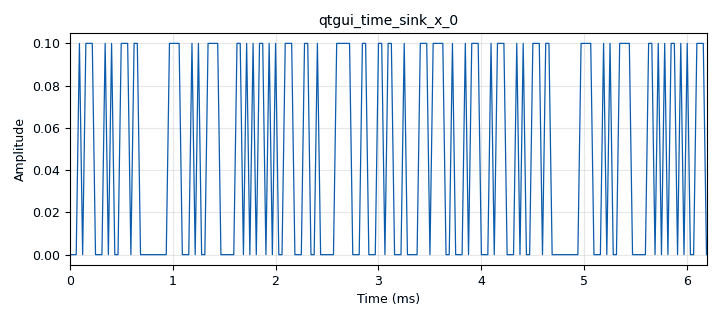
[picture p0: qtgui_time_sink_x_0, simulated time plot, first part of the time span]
<?xml version='1.0' encoding='utf-8'?>
<?grc format='1' created='3.7.8'?>
<flow_graph>
<block>
<key>options</key>
<param><key>id</key><value>polar_encoder_decoder_chain</value></param>
<param><key>author</key><value>Johannes Demel</value></param>
<param><key>category</key><value>Custom</value></param>
<param><key>generate_options</key><value>qt_gui</value></param>
<param><key>run_options</key><value>run</value></param>
<param><key>title</key><value>POLAR Encoder and Decoder</value></param>
</block>
<block>
<key>variable_cc_decoder_def</key>
<param><key>id</key><value>cc_decoder</value></param>
<param><key>padding</key><value>False</value></param>
<param><key>k</key><value>7</value></param>
<param><key>state_end</key><value>-1</value></param>
<param><key>framebits</key><value>2048</value></param>
<param><key>ndim</key><value>0</value></param>
<param><key>polys</key><value>[79,109]</value></param>
<param><key>rate</key><value>2</value></param>
<param><key>state_start</key><value>0</value></param>
<param><key>mode</key><value>fec.CC_STREAMING</value></param>
</block>
<block>
<key>variable_cc_encoder_def</key>
<param><key>id</key><value>cc_encoder</value></param>
<param><key>padding</key><value>False</value></param>
<param><key>k</key><value>7</value></param>
<param><key>_enabled</key><value>False</value></param>
<param><key>framebits</key><value>2048</value></param>
<param><key>ndim</key><value>0</value></param>
<param><key>polys</key><value>[79,109]</value></param>
<param><key>rate</key><value>2</value></param>
<param><key>state_start</key><value>0</value></param>
<param><key>mode</key><value>fec.CC_STREAMING</value></param>
</block>
<block>
<key>variable_polar_decoder_sc_def</key>
<param><key>id</key><value>polar_decoder</value></param>
<param><key>num_info_bits</key><value>128</value></param>
<param><key>block_size</key><value>256</value></param>
<param><key>frozen_bit_positions</key><value>range(128)</value></param>
<param><key>frozen_bit_values</key><value>[0] * 128</value></param>
<param><key>is_packed</key><value>False</value></param>
</block>
<block>
<key>variable_polar_encoder_def</key>
<param><key>id</key><value>polar_encoder</value></param>
<param><key>num_info_bits</key><value>128</value></param>
<param><key>block_size</key><value>256</value></param>
<param><key>frozen_bit_positions</key><value>range(128)</value></param>
<param><key>frozen_bit_values</key><value>[0] * 128</value></param>
<param><key>is_packed</key><value>True</value></param>
</block>
<block>
<key>variable</key>
<param><key>id</key><value>samp_rate</value></param>
<param><key>value</key><value>32000</value></param>
</block>
<block>
<key>analog_random_source_x</key>
<param><key>id</key><value>analog_random_source_x_0</value></param>
<param><key>max</key><value>2</value></param>
<param><key>min</key><value>0</value></param>
<param><key>num_samps</key><value>2 ** 10</value></param>
<param><key>type</key><value>byte</value></param>
<param><key>repeat</key><value>True</value></param>
</block>
<block>
<key>blocks_add_const_vxx</key>
<param><key>id</key><value>blocks_add_const_vxx_0</value></param>
<param><key>const</key><value>1.0</value></param>
<param><key>type</key><value>float</value></param>
</block>
<block>
<key>blocks_char_to_float</key>
<param><key>id</key><value>blocks_char_to_float_0</value></param>
<param><key>scale</key><value>10</value></param>
</block>
<block>
<key>blocks_char_to_float</key>
<param><key>id</key><value>blocks_char_to_float_0_0</value></param>
<param><key>scale</key><value>-2.0</value></param>
</block>
<block>
<key>blocks_head</key>
<param><key>id</key><value>blocks_head_0</value></param>
<param><key>_enabled</key><value>False</value></param>
<param><key>num_items</key><value>2 ** 32</value></param>
<param><key>type</key><value>byte</value></param>
</block>
<block>
<key>blocks_null_sink</key>
<param><key>id</key><value>blocks_null_sink_0</value></param>
<param><key>bus_conns</key><value>[[0,],]</value></param>
<param><key>_enabled</key><value>False</value></param>
<param><key>type</key><value>byte</value></param>
</block>
<block>
<key>blocks_pack_k_bits_bb</key>
<param><key>id</key><value>blocks_pack_k_bits_bb_0</value></param>
<param><key>k</key><value>8</value></param>
</block>
<block>
<key>blocks_unpack_k_bits_bb</key>
<param><key>id</key><value>blocks_unpack_k_bits_bb_0</value></param>
<param><key>_enabled</key><value>False</value></param>
<param><key>k</key><value>8</value></param>
</block>
<block>
<key>fec_extended_decoder</key>
<param><key>id</key><value>fec_extended_decoder_0</value></param>
<param><key>decoder_list</key><value>polar_decoder</value></param>
<param><key>puncpat</key><value>'11'</value></param>
<param><key>threadtype</key><value>capillary</value></param>
</block>
<block>
<key>fec_generic_encoder</key>
<param><key>id</key><value>fec_generic_encoder_0</value></param>
<param><key>encoder</key><value>polar_encoder</value></param>
<param><key>itype</key><value>byte</value></param>
<param><key>otype</key><value>byte</value></param>
</block>
<block>
<key>import</key>
<param><key>id</key><value>import_0</value></param>
<param><key>import</key><value>import time</value></param>
</block>
<block>
<key>qtgui_time_sink_x</key>
<param><key>id</key><value>qtgui_time_sink_x_0</value></param>
<param><key>autoscale</key><value>True</value></param>
<param><key>color1</key><value>"blue"</value></param>
<param><key>label1</key><value></value></param>
<param><key>size</key><value>2048</value></param>
<param><key>srate</key><value>samp_rate</value></param>
<param><key>type</key><value>float</value></param>
</block>
<connection><source_block_id>analog_random_source_x_0</source_block_id><sink_block_id>blocks_pack_k_bits_bb_0</sink_block_id><source_key>0</source_key><sink_key>0</sink_key></connection>
<connection><source_block_id>blocks_add_const_vxx_0</source_block_id><sink_block_id>fec_extended_decoder_0</sink_block_id><source_key>0</source_key><sink_key>0</sink_key></connection>
<connection><source_block_id>blocks_char_to_float_0</source_block_id><sink_block_id>qtgui_time_sink_x_0</sink_block_id><source_key>0</source_key><sink_key>0</sink_key></connection>
<connection><source_block_id>blocks_char_to_float_0_0</source_block_id><sink_block_id>blocks_add_const_vxx_0</sink_block_id><source_key>0</source_key><sink_key>0</sink_key></connection>
<connection><source_block_id>blocks_head_0</source_block_id><sink_block_id>blocks_null_sink_0</sink_block_id><source_key>0</source_key><sink_key>0</sink_key></connection>
<connection><source_block_id>blocks_pack_k_bits_bb_0</source_block_id><sink_block_id>fec_generic_encoder_0</sink_block_id><source_key>0</source_key><sink_key>0</sink_key></connection>
<connection><source_block_id>blocks_unpack_k_bits_bb_0</source_block_id><sink_block_id>blocks_head_0</sink_block_id><source_key>0</source_key><sink_key>0</sink_key></connection>
<connection><source_block_id>fec_extended_decoder_0</source_block_id><sink_block_id>blocks_char_to_float_0</sink_block_id><source_key>0</source_key><sink_key>0</sink_key></connection>
<connection><source_block_id>fec_generic_encoder_0</source_block_id><sink_block_id>blocks_char_to_float_0_0</sink_block_id><source_key>0</source_key><sink_key>0</sink_key></connection>
<connection><source_block_id>fec_generic_encoder_0</source_block_id><sink_block_id>blocks_unpack_k_bits_bb_0</sink_block_id><source_key>0</source_key><sink_key>0</sink_key></connection>
</flow_graph>
